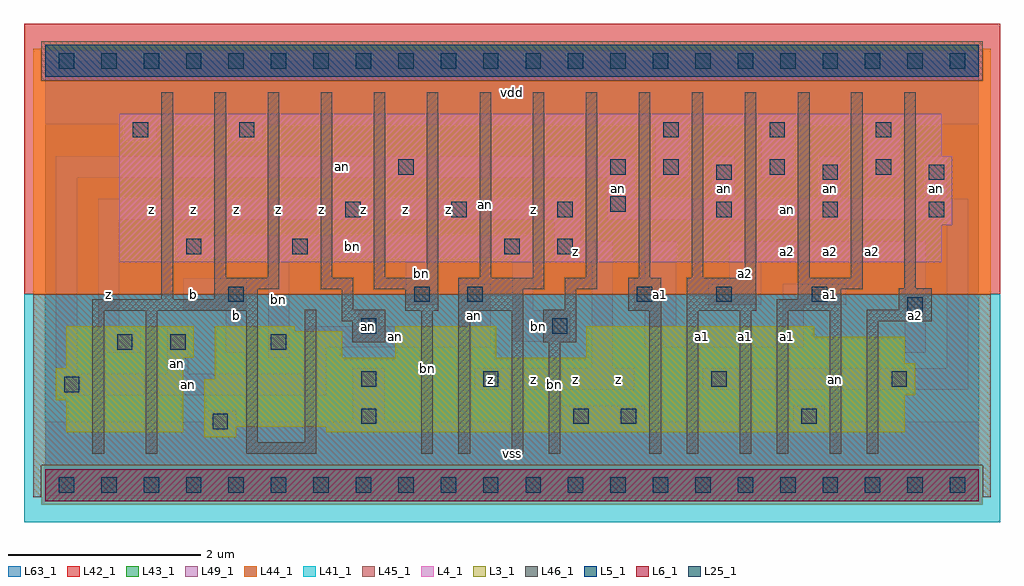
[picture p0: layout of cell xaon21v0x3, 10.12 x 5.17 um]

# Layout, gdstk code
import gdstk
lib = gdstk.Library(unit=1e-6, precision=1e-09)
def R(c, l, rs):  # rectangles x0, y0, x1, y1
    for r in rs: c.add(gdstk.rectangle(r[:2], r[2:], *l))
def A(c, l, x, y, w, h, nx, ny, dx, dy):  # array of equal rectangles
    R(c, l, [(x+i*dx, y+j*dy, x+i*dx+w, y+j*dy+h) for i in range(nx) for j in range(ny)])
L3_1 = (3, 1)
L4_1 = (4, 1)
L5_1 = (5, 1)
L6_1 = (6, 1)
L25_1 = (25, 1)
L41_1 = (41, 1)
L42_1 = (42, 1)
L43_1 = (43, 1)
L44_1 = (44, 1)
L45_1 = (45, 1)
L46_1 = (46, 1)
L49_1 = (49, 1)
L63_1 = (63, 1)

xaon21v0x3 = lib.new_cell('xaon21v0x3')
R(xaon21v0x3, L3_1, [(1.65,0.495,1.98,0.605), (0.22,0.55,1.43,0.88), (2.915,0.55,8.91,0.605), (1.65,0.605,8.91,0.935), (0.11,0.88,1.43,1.21), (1.65,0.935,9.02,1.1), (1.76,1.1,9.02,1.265), (0.22,1.21,1.43,1.32), (1.76,1.265,8.91,1.32), (0.22,1.32,1.54,1.65), (1.76,1.32,3.08,1.595), (3.63,1.32,4.675,1.65), (5.61,1.32,8.91,1.54), (5.61,1.54,7.975,1.65), (1.76,1.595,2.585,1.65)])
R(xaon21v0x3, L4_1, [(0.77,2.31,9.295,2.695), (0.77,2.695,9.405,3.41), (0.77,3.41,9.295,3.85)])
R(xaon21v0x3, L5_1, [(0,4.235,9.68,4.565)])
R(xaon21v0x3, L6_1, [(0,-0.165,9.68,0.165)])
A(xaon21v0x3, L25_1, 0.14, -0.08, 0.16, 0.16, 22, 2, 0.44, 4.4)
A(xaon21v0x3, L25_1, 3.11, 2.78, 0.16, 0.16, 3, 1, 1.1, 0)
A(xaon21v0x3, L25_1, 6.96, 2.78, 0.16, 0.16, 3, 2, 1.1, 0.385)
A(xaon21v0x3, L25_1, 6.41, 3.22, 0.16, 0.16, 3, 2, 1.1, 0.385)
R(xaon21v0x3, L25_1, [(1.735,0.58,1.895,0.74), (3.275,0.635,3.435,0.795), (5.475,0.635,5.635,0.795), (5.97,0.635,6.13,0.795), (7.84,0.635,8,0.795), (0.195,0.965,0.355,1.125), (3.275,1.02,3.435,1.18), (4.54,1.02,4.7,1.18), (6.905,1.02,7.065,1.18), (8.775,1.02,8.935,1.18), (0.745,1.405,0.905,1.565), (1.295,1.405,1.455,1.565), (2.34,1.405,2.5,1.565), (3.275,1.57,3.435,1.73), (5.255,1.57,5.415,1.73), (8.94,1.79,9.1,1.95), (1.9,1.9,2.06,2.06), (3.825,1.9,3.985,2.06), (4.375,1.9,4.535,2.06), (6.135,1.9,6.295,2.06), (6.96,1.9,7.12,2.06), (7.95,1.9,8.11,2.06), (1.46,2.395,1.62,2.555), (2.56,2.395,2.72,2.555), (4.76,2.395,4.92,2.555), (5.31,2.395,5.47,2.555), (5.86,2.835,6.02,2.995), (3.66,3.22,3.82,3.38), (5.86,3.22,6.02,3.38), (0.91,3.605,1.07,3.765), (2.01,3.605,2.17,3.765)])
R(xaon21v0x3, L41_1, [(-0.22,-0.385,9.9,1.98)])
R(xaon21v0x3, L42_1, [(-0.22,1.98,9.9,4.785)])
R(xaon21v0x3, L43_1, [(0,-0.165,9.68,0.165), (1.65,0.495,1.98,0.605), (0.22,0.55,1.43,0.88), (2.915,0.55,8.91,0.605), (1.65,0.605,8.91,0.935), (0.11,0.88,1.43,1.21), (1.65,0.935,9.02,1.1), (1.76,1.1,9.02,1.265), (0.22,1.21,1.43,1.32), (1.76,1.265,8.91,1.32), (0.22,1.32,1.54,1.65), (1.76,1.32,3.08,1.595), (3.63,1.32,4.675,1.65), (5.61,1.32,8.91,1.54), (5.61,1.54,7.975,1.65), (1.76,1.595,2.585,1.65), (0.77,2.31,9.295,2.695), (0.77,2.695,9.405,3.41), (0.77,3.41,9.295,3.85), (0,4.235,9.68,4.565)])
R(xaon21v0x3, L44_1, [(-0.04,-0.205,9.72,0.205), (-0.125,1.98,9.805,4.195), (-0.125,4.195,-0.04,4.525), (9.72,4.195,9.805,4.525)])
R(xaon21v0x3, L45_1, [(-0.125,-0.125,-0.04,0.205), (9.72,-0.125,9.805,0.205), (-0.125,0.205,9.805,1.98), (-0.04,4.195,9.72,4.605)])
A(xaon21v0x3, L46_1, 1.755, 2.15, 0.12, 1.925, 13, 1, 0.55, 0)
R(xaon21v0x3, L46_1, [(0.49,0.325,0.61,1.81), (1.04,0.325,1.16,1.81), (2.085,0.325,2.81,0.445), (3.9,0.325,4.02,1.81), (4.285,0.325,4.405,1.81), (4.835,0.325,4.955,1.81), (5.22,0.325,5.34,1.48), (6.265,0.325,6.385,1.81), (6.65,0.325,6.77,1.81), (7.2,0.325,7.32,1.81), (7.585,0.325,7.705,1.81), (8.135,0.325,8.255,1.81), (8.52,0.325,8.64,1.7), (2.085,0.445,2.205,1.81), (2.69,0.445,2.81,1.82), (3.185,1.48,3.525,1.7), (5.165,1.48,5.505,1.82), (3.075,1.7,3.525,1.82), (8.52,1.7,9.19,1.82), (0.49,1.81,2.205,1.93), (3.735,1.81,4.075,2.03), (4.285,1.81,4.955,2.03), (6.045,1.81,6.385,2.15), (6.65,1.81,7.375,2.15), (7.585,1.81,8.255,1.93), (3.075,1.82,3.195,2.03), (5.385,1.82,5.505,2.03), (8.85,1.82,9.19,2.04), (1.205,1.93,1.325,4.075), (1.755,1.93,2.205,2.03), (7.805,1.93,8.255,2.03), (1.755,2.03,2.425,2.15), (2.855,2.03,3.195,2.15), (3.405,2.03,4.075,2.15), (4.285,2.03,5.175,2.15), (5.385,2.03,5.725,2.15), (7.805,2.03,8.475,2.15), (8.905,2.04,9.025,4.075)])
A(xaon21v0x3, L49_1, 6.93, 2.97, 0.22, 0.44, 3, 1, 1.1, 0)
A(xaon21v0x3, L49_1, 6.325, 3.19, 0.33, 0.55, 3, 1, 1.1, 0)
R(xaon21v0x3, L49_1, [(0,-0.11,9.68,0.66), (1.65,0.66,1.98,0.77), (3.19,0.66,3.52,1.21), (5.335,0.66,6.215,0.825), (7.755,0.66,8.085,0.825), (0.11,0.935,2.915,1.155), (4.455,0.99,6.105,1.21), (6.82,0.99,9.57,1.21), (0.11,1.155,0.33,3.19), (1.265,1.155,1.485,1.65), (2.695,1.155,2.915,1.43), (5.665,1.21,5.885,2.31), (9.35,1.21,9.57,2.75), (2.31,1.32,2.53,2.365), (0.55,1.375,0.99,1.595), (1.87,1.375,2.09,1.815), (8.91,1.375,9.13,2.31), (2.695,1.43,4.62,1.65), (6.215,1.43,7.865,1.65), (4.84,1.485,5.445,1.815), (0.55,1.595,0.77,2.75), (3.245,1.65,3.465,1.815), (4.29,1.65,4.62,2.09), (6.215,1.65,6.545,1.815), (7.645,1.65,7.865,1.87), (1.43,1.815,2.09,2.145), (4.84,1.815,5.06,2.365), (6.105,1.815,6.545,2.145), (3.74,1.87,4.07,2.365), (6.875,1.87,7.425,2.09), (7.645,1.87,8.305,2.09), (7.095,2.09,7.425,2.31), (6.215,2.145,6.545,2.53), (5.28,2.31,5.885,2.53), (7.095,2.31,9.13,2.53), (1.375,2.365,5.06,2.585), (5.28,2.53,5.555,2.75), (0.55,2.75,5.555,2.97), (5.83,2.75,9.57,2.97), (5.83,2.97,6.105,3.19), (0.11,3.19,6.105,3.41), (0.825,3.575,1.155,3.74), (1.925,3.575,2.255,3.74), (0,3.74,9.68,4.51)])
R(xaon21v0x3, L63_1, [(0,0,9.68,4.4)])
xaon21v0x3.add(gdstk.Label('bn', (3.96,1.21), layer=46, texttype=1))
xaon21v0x3.add(gdstk.Label('an', (3.355,1.65), layer=49, texttype=1))
xaon21v0x3.add(gdstk.Label('an', (4.565,2.915), layer=46, texttype=1))
xaon21v0x3.add(gdstk.Label('bn', (5.28,1.045), layer=46, texttype=1))
xaon21v0x3.add(gdstk.Label('an', (1.375,1.265), layer=49, texttype=1))
xaon21v0x3.add(gdstk.Label('z', (0.66,1.98), layer=49, texttype=1))
xaon21v0x3.add(gdstk.Label('z', (1.1,2.86), layer=49, texttype=1))
xaon21v0x3.add(gdstk.Label('an', (1.485,1.045), layer=49, texttype=1))
xaon21v0x3.add(gdstk.Label('b', (1.54,1.98), layer=49, texttype=1))
xaon21v0x3.add(gdstk.Label('b', (1.98,1.76), layer=49, texttype=1))
xaon21v0x3.add(gdstk.Label('bn', (2.42,1.925), layer=49, texttype=1))
xaon21v0x3.add(gdstk.Label('z', (1.54,2.86), layer=49, texttype=1))
xaon21v0x3.add(gdstk.Label('z', (1.98,2.86), layer=49, texttype=1))
xaon21v0x3.add(gdstk.Label('z', (2.86,2.86), layer=49, texttype=1))
xaon21v0x3.add(gdstk.Label('z', (2.42,2.86), layer=49, texttype=1))
xaon21v0x3.add(gdstk.Label('z', (4.62,1.1), layer=49, texttype=1))
xaon21v0x3.add(gdstk.Label('an', (4.455,1.76), layer=49, texttype=1))
xaon21v0x3.add(gdstk.Label('an', (3.63,1.54), layer=49, texttype=1))
xaon21v0x3.add(gdstk.Label('bn', (3.905,2.2), layer=49, texttype=1))
xaon21v0x3.add(gdstk.Label('z', (3.3,2.86), layer=49, texttype=1))
xaon21v0x3.add(gdstk.Label('z', (3.74,2.86), layer=49, texttype=1))
xaon21v0x3.add(gdstk.Label('z', (4.62,2.86), layer=49, texttype=1))
xaon21v0x3.add(gdstk.Label('z', (4.18,2.86), layer=49, texttype=1))
xaon21v0x3.add(gdstk.Label('vss', (4.84,0.33), layer=49, texttype=1))
xaon21v0x3.add(gdstk.Label('z', (5.06,1.1), layer=49, texttype=1))
xaon21v0x3.add(gdstk.Label('z', (5.94,1.1), layer=49, texttype=1))
xaon21v0x3.add(gdstk.Label('z', (5.5,1.1), layer=49, texttype=1))
xaon21v0x3.add(gdstk.Label('bn', (5.115,1.65), layer=49, texttype=1))
xaon21v0x3.add(gdstk.Label('a1', (6.38,1.98), layer=49, texttype=1))
xaon21v0x3.add(gdstk.Label('z', (5.5,2.42), layer=49, texttype=1))
xaon21v0x3.add(gdstk.Label('z', (5.06,2.86), layer=49, texttype=1))
xaon21v0x3.add(gdstk.Label('bn', (3.19,2.475), layer=49, texttype=1))
xaon21v0x3.add(gdstk.Label('an', (5.94,3.08), layer=49, texttype=1))
xaon21v0x3.add(gdstk.Label('an', (3.08,3.3), layer=49, texttype=1))
xaon21v0x3.add(gdstk.Label('vdd', (4.84,4.07), layer=49, texttype=1))
xaon21v0x3.add(gdstk.Label('a1', (7.7,1.54), layer=49, texttype=1))
xaon21v0x3.add(gdstk.Label('a1', (7.26,1.54), layer=49, texttype=1))
xaon21v0x3.add(gdstk.Label('a1', (6.82,1.54), layer=49, texttype=1))
xaon21v0x3.add(gdstk.Label('a2', (7.7,2.42), layer=49, texttype=1))
xaon21v0x3.add(gdstk.Label('a2', (7.26,2.2), layer=49, texttype=1))
xaon21v0x3.add(gdstk.Label('an', (7.04,3.08), layer=49, texttype=1))
xaon21v0x3.add(gdstk.Label('an', (8.195,1.1), layer=49, texttype=1))
xaon21v0x3.add(gdstk.Label('a1', (8.14,1.98), layer=49, texttype=1))
xaon21v0x3.add(gdstk.Label('a2', (9.02,1.76), layer=49, texttype=1))
xaon21v0x3.add(gdstk.Label('a2', (8.58,2.42), layer=49, texttype=1))
xaon21v0x3.add(gdstk.Label('a2', (8.14,2.42), layer=49, texttype=1))
xaon21v0x3.add(gdstk.Label('an', (7.7,2.86), layer=49, texttype=1))
xaon21v0x3.add(gdstk.Label('an', (9.24,3.08), layer=49, texttype=1))
xaon21v0x3.add(gdstk.Label('an', (8.14,3.08), layer=49, texttype=1))

lib.write_gds('xaon21v0x3.gds')
